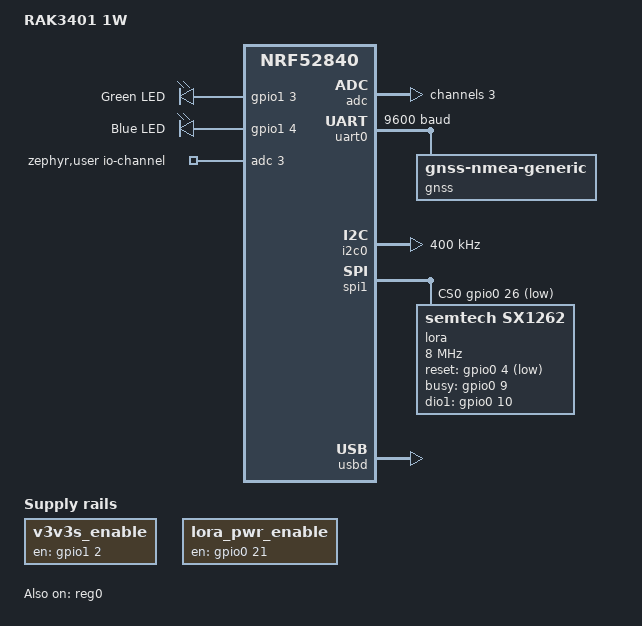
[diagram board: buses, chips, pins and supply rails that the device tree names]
/*
 * RAK3401 1W — nRF52840 + SX1262 + SKY66122 1W PA (WisMesh Booster)
 * Copyright (c) 2025 ZephCore
 *
 * SPDX-License-Identifier: Apache-2.0
 *
 * Hardware:
 * - nRF52840 SoC with BLE 5
 * - SX1262 LoRa radio on RAK13302 IO-slot module (30 dBm, SKY66122 FEM)
 *   DIO2 as RF switch, TCXO 1.8V via DIO3
 * - RAK1910 GPS module (optional) on UART0 at 9600 baud
 * - Battery ADC on AIN3 (P0.05)
 * - I2C0 for WisBlock sensors (auto-detected)
 * - LEDs: GREEN=P1.03 (TX, active HIGH), BLUE=P1.04 (status, active HIGH)
 * - QSPI flash disabled (pins conflict with LoRa SPI bus)
 * - SoftDevice s140 v6.1.1, UF2 bootloader
 *
 * Pin mappings (from Meshtastic/MeshCore variant.h):
 * - LoRa SPI:  SCK=P0.03, MOSI=P0.30, MISO=P0.29, CS=P0.26
 * - LoRa ctl:  DIO1=P0.10 (NFC2), BUSY=P0.09 (NFC1), RESET=P0.04
 * - FEM:       SX126X_POWER_EN=P0.21 (SKY66122 CSD+CPS)
 * - 3V3_S:     WB_IO2=P1.02 (3V3_S rail, powers GPS + PA boost)
 * - I2C:       SDA=P0.13, SCL=P0.14
 * - GPS:       TX=P0.16, RX=P0.15
 * - Battery:   AIN3=P0.05
 */

/dts-v1/;
#include <nordic/nrf52840_qiaa.dtsi>
#include "rak3401_1watt-pinctrl.dtsi"
#include <zephyr/dt-bindings/lora/sx126x.h>
#include <zephyr/dt-bindings/adc/nrf-saadc.h>

/ {
	model = "RAK3401 1W";
	compatible = "rak,rak3401-1watt";

	chosen {
		zephyr,sram = &sram0;
		zephyr,flash = &flash0;
		zephyr,code-partition = &code_partition;
		zephyr,console = &cdc_acm_uart;
		zephyr,shell-uart = &cdc_acm_uart;
	};

	aliases {
		lora0 = &lora;
		led0 = &led_green;
		led1 = &led_blue;
		lora-tx-led = &led_green;
		watchdog0 = &wdt0;
	};

	/* ---- LEDs (active HIGH per variant.h LED_STATE_ON=HIGH) ---- */
	leds {
		compatible = "gpio-leds";

		led_green: led_0 {
			gpios = <&gpio1 3 GPIO_ACTIVE_HIGH>;
			label = "Green LED";
		};

		led_blue: led_1 {
			gpios = <&gpio1 4 GPIO_ACTIVE_HIGH>;
			label = "Blue LED";
		};
	};

	/* ---- Power control ---- */

	/* 3V3_S rail — must be HIGH for GPS and IO-slot peripherals.
	 * WB_IO2 (P1.02) doubles as GPS_RESET on the RAK1910 slot,
	 * so it must remain HIGH when GPS is active. */
	v3v3s_enable: v3v3s-enable {
		compatible = "regulator-fixed";
		regulator-name = "v3v3s-enable";
		enable-gpios = <&gpio1 2 GPIO_ACTIVE_HIGH>;
		regulator-boot-on;
	};

	/* SKY66122 FEM enable — must be HIGH before SX1262 can transmit.
	 * SX126X_POWER_EN = P0.21 (IO3 on WisBlock base). */
	lora_pwr_enable: lora-pwr-enable {
		compatible = "regulator-fixed";
		regulator-name = "lora-pwr-enable";
		enable-gpios = <&gpio0 21 GPIO_ACTIVE_HIGH>;
		regulator-boot-on;
		startup-delay-us = <10000>;
	};

	/* ---- Battery ADC ---- */
	/* P0.05 (AIN3), 150K+150K divider — same circuit as RAK4631.
	 * Arduino ADC_MULTIPLIER=1.73, AREF=3.0V:
	 * vbat-mv-multiplier = round(3 * 1.73 * 1.187 * 1000) = 6161 */
	zephyr,user {
		io-channels = <&adc 3>;
		vbat-mv-multiplier = <6161>;
	};
};

/* ---- SoC configuration ---- */

&reg0 {
	status = "okay";
};

&reg1 {
	regulator-initial-mode = <NRF5X_REG_MODE_DCDC>;
};

&adc {
	status = "okay";
	#address-cells = <1>;
	#size-cells = <0>;

	/* Battery voltage on P0.05 (AIN3) */
	channel@3 {
		reg = <3>;
		zephyr,gain = "ADC_GAIN_1_6";
		zephyr,reference = "ADC_REF_INTERNAL";
		zephyr,acquisition-time = <ADC_ACQ_TIME(ADC_ACQ_TIME_MICROSECONDS, 10)>;
		zephyr,input-positive = <NRF_SAADC_AIN3>;
		zephyr,resolution = <12>;
	};
};

/* Enable NFC1 (P0.09) and NFC2 (P0.10) as plain GPIOs.
 * P0.09 → SX1262 BUSY, P0.10 → SX1262 DIO1. */
&uicr {
	nfct-pins-as-gpios;
};

&gpiote {
	status = "okay";
};

&gpio0 {
	status = "okay";
};

&gpio1 {
	status = "okay";
};

/* ---- GPS on UART0 (RAK1910 u-blox MAX-7Q, 9600 baud) ---- */
&uart0 {
	compatible = "nordic,nrf-uarte";
	status = "okay";
	current-speed = <9600>;
	pinctrl-0 = <&uart0_default>;
	pinctrl-1 = <&uart0_sleep>;
	pinctrl-names = "default", "sleep";

	gnss: gnss-nmea-generic {
		compatible = "gnss-nmea-generic";
	};
};

/* ---- I2C0 for WisBlock sensors ---- */
&i2c0 {
	compatible = "nordic,nrf-twim";
	status = "okay";
	clock-frequency = <I2C_BITRATE_FAST>;
	pinctrl-0 = <&i2c0_default>;
	pinctrl-1 = <&i2c0_sleep>;
	pinctrl-names = "default", "sleep";

	/* All supported environment & power sensors — auto-detected at runtime */
	#include "../../common/sensors-i2c.dtsi"
};

/* ---- SPI1 for LoRa SX1262 (RAK13302 IO-slot module) ---- */
&spi1 {
	compatible = "nordic,nrf-spim";
	status = "okay";
	pinctrl-0 = <&spi1_default>;
	pinctrl-1 = <&spi1_sleep>;
	pinctrl-names = "default", "sleep";
	cs-gpios = <&gpio0 26 GPIO_ACTIVE_LOW>;   /* P0.26 LORA_CS */

	lora: lora@0 {
		compatible = "semtech,sx1262";
		reg = <0>;
		spi-max-frequency = <8000000>;

		/* LoRa control pins */
		reset-gpios = <&gpio0 4 GPIO_ACTIVE_LOW>;     /* P0.04 WB_IO4 */
		busy-gpios = <&gpio0 9 GPIO_ACTIVE_HIGH>;     /* P0.09 NFC1 */
		dio1-gpios = <&gpio0 10 (GPIO_PULL_DOWN | GPIO_ACTIVE_HIGH)>; /* P0.10 NFC2 */

		/* DIO2 drives SKY66122 CTX (TX/RX switch) */
		dio2-tx-enable;

		/* TCXO 1.8V reference via DIO3 */
		dio3-tcxo-voltage = <SX126X_DIO3_TCXO_1V8>;
		tcxo-power-startup-delay-ms = <5>;

		/* RX boosted LNA for improved sensitivity */
		rx-boosted;
	};
};

/* ---- QSPI flash — disabled (pins shared with LoRa SPI) ---- */
&qspi {
	status = "disabled";
};

/* ---- USB CDC for console/CLI ---- */
zephyr_udc0: &usbd {
	compatible = "nordic,nrf-usbd";
	status = "okay";

	cdc_acm_uart: cdc_acm_uart {
		compatible = "zephyr,cdc-acm-uart";
	};
};

/* ---- Flash partitions (SoftDevice v6, app@0x26000) ---- */
#include "../../common/nrf52_partitions_sdv6.dtsi"
